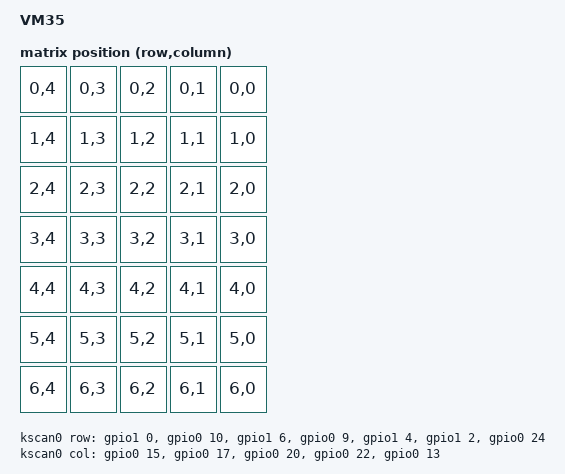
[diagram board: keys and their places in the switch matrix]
/*
 * VM35 — custom macropad (standalone) built on an nRF52840
 * (EByte E73-2G4M08S1C module).
 */

/dts-v1/;
#include <nordic/nrf52840_qiaa.dtsi>
#include <dt-bindings/zmk/matrix_transform.h>
#include <physical_layouts.dtsi>

/ {
	model = "VM35";
	compatible = "vm,vm35";

	chosen {
		zephyr,code-partition = &code_partition;
		zephyr,sram = &sram0;
		zephyr,flash = &flash0;
		zmk,kscan = &kscan0;
		zmk,matrix-transform = &default_transform;
		zmk,battery = &vbatt;
	};

	/* Li-ion voltage divider on P0.04/AIN2: VBAT -[820k]- ADC -[2M]- GND. */
	vbatt: vbatt {
		compatible = "zmk,battery-voltage-divider";
		io-channels = <&adc 2>;
		output-ohms = <2000000>;
		full-ohms = <2820000>;
	};

	/*
	 * External-power gate: P-FET (AO3407) gate on P1.09, held off by a 2M
	 * pull-up, so driving the pin low enables EXT_VCC -> ACTIVE_LOW.
	 * Polarity is inferred from the schematic; verify on hardware.
	 */
	extpower {
		compatible = "zmk,ext-power-generic";
		control-gpios = <&gpio1 9 GPIO_ACTIVE_LOW>;
		label = "EXT_POWER";
	};

	/*
	 * 7x5 matrix. Pin map from the authoritative E73 daughterboard
	 * schematic (net names align DB<->MB despite the reversed FPC order):
	 *
	 *   net    nRF pin      port/pin
	 *   row0   P1.00        gpio1 0
	 *   row1   P0.10/NFC2   gpio0 10   <- needs NFCT_PINS_AS_GPIOS
	 *   row2   P1.06        gpio1 6
	 *   row3   P0.09/NFC1   gpio0 9    <- needs NFCT_PINS_AS_GPIOS
	 *   row4   P1.04        gpio1 4
	 *   row5   P1.02        gpio1 2
	 *   row6   P0.24        gpio0 24
	 *   col0   P0.15        gpio0 15
	 *   col1   P0.17        gpio0 17
	 *   col2   P0.20        gpio0 20
	 *   col3   P0.22        gpio0 22
	 *   col4   P0.13        gpio0 13
	 */
	kscan0: kscan {
		compatible = "zmk,kscan-gpio-matrix";
		wakeup-source;
		diode-direction = "col2row";

		/* col2row: columns driven (outputs), rows read (inputs with
		 * pull-down). Matches the original working firmware. */
		row-gpios
			= <&gpio1  0 (GPIO_ACTIVE_HIGH | GPIO_PULL_DOWN)>	/* row0 P1.00 */
			, <&gpio0 10 (GPIO_ACTIVE_HIGH | GPIO_PULL_DOWN)>	/* row1 P0.10/NFC2 */
			, <&gpio1  6 (GPIO_ACTIVE_HIGH | GPIO_PULL_DOWN)>	/* row2 P1.06 */
			, <&gpio0  9 (GPIO_ACTIVE_HIGH | GPIO_PULL_DOWN)>	/* row3 P0.09/NFC1 */
			, <&gpio1  4 (GPIO_ACTIVE_HIGH | GPIO_PULL_DOWN)>	/* row4 P1.04 */
			, <&gpio1  2 (GPIO_ACTIVE_HIGH | GPIO_PULL_DOWN)>	/* row5 P1.02 */
			, <&gpio0 24 (GPIO_ACTIVE_HIGH | GPIO_PULL_DOWN)>	/* row6 P0.24 */
			;

		col-gpios
			= <&gpio0 15 GPIO_ACTIVE_HIGH>	/* col0 P0.15 */
			, <&gpio0 17 GPIO_ACTIVE_HIGH>	/* col1 P0.17 */
			, <&gpio0 20 GPIO_ACTIVE_HIGH>	/* col2 P0.20 */
			, <&gpio0 22 GPIO_ACTIVE_HIGH>	/* col3 P0.22 */
			, <&gpio0 13 GPIO_ACTIVE_HIGH>	/* col4 P0.13 */
			;
	};

	/*
	 * Standalone macropad, 35 keys. Columns are mirrored on the PCB
	 * (physical left = col4), so the transform reverses columns to make
	 * keymap position 0 the physical top-left key and author left->right.
	 */
	default_transform: keymap_transform_0 {
		compatible = "zmk,matrix-transform";
		columns = <5>;
		rows = <7>;
		map = <
			RC(0,4) RC(0,3) RC(0,2) RC(0,1) RC(0,0)
			RC(1,4) RC(1,3) RC(1,2) RC(1,1) RC(1,0)
			RC(2,4) RC(2,3) RC(2,2) RC(2,1) RC(2,0)
			RC(3,4) RC(3,3) RC(3,2) RC(3,1) RC(3,0)
			RC(4,4) RC(4,3) RC(4,2) RC(4,1) RC(4,0)
			RC(5,4) RC(5,3) RC(5,2) RC(5,1) RC(5,0)
			RC(6,4) RC(6,3) RC(6,2) RC(6,1) RC(6,0)
		>;
	};

	/*
	 * Physical layout for ZMK Studio (live remapping). Plain 5-wide x
	 * 7-tall 1u grid, keys listed in keymap-position order (top-left
	 * first, left->right) so they line up with default_transform.
	 * Units are 1/100 of a key; 100 = 1u.
	 */
	vm35_layout: vm35_layout {
		compatible = "zmk,physical-layout";
		display-name = "Numpad";
		transform = <&default_transform>;
		keys
			= <&key_physical_attrs 100 100    0    0 0 0 0>
			, <&key_physical_attrs 100 100  100    0 0 0 0>
			, <&key_physical_attrs 100 100  200    0 0 0 0>
			, <&key_physical_attrs 100 100  300    0 0 0 0>
			, <&key_physical_attrs 100 100  400    0 0 0 0>
			, <&key_physical_attrs 100 100    0  100 0 0 0>
			, <&key_physical_attrs 100 100  100  100 0 0 0>
			, <&key_physical_attrs 100 100  200  100 0 0 0>
			, <&key_physical_attrs 100 100  300  100 0 0 0>
			, <&key_physical_attrs 100 100  400  100 0 0 0>
			, <&key_physical_attrs 100 100    0  200 0 0 0>
			, <&key_physical_attrs 100 100  100  200 0 0 0>
			, <&key_physical_attrs 100 100  200  200 0 0 0>
			, <&key_physical_attrs 100 100  300  200 0 0 0>
			, <&key_physical_attrs 100 100  400  200 0 0 0>
			, <&key_physical_attrs 100 100    0  300 0 0 0>
			, <&key_physical_attrs 100 100  100  300 0 0 0>
			, <&key_physical_attrs 100 100  200  300 0 0 0>
			, <&key_physical_attrs 100 100  300  300 0 0 0>
			, <&key_physical_attrs 100 100  400  300 0 0 0>
			, <&key_physical_attrs 100 100    0  400 0 0 0>
			, <&key_physical_attrs 100 100  100  400 0 0 0>
			, <&key_physical_attrs 100 100  200  400 0 0 0>
			, <&key_physical_attrs 100 100  300  400 0 0 0>
			, <&key_physical_attrs 100 100  400  400 0 0 0>
			, <&key_physical_attrs 100 100    0  500 0 0 0>
			, <&key_physical_attrs 100 100  100  500 0 0 0>
			, <&key_physical_attrs 100 100  200  500 0 0 0>
			, <&key_physical_attrs 100 100  300  500 0 0 0>
			, <&key_physical_attrs 100 100  400  500 0 0 0>
			, <&key_physical_attrs 100 100    0  600 0 0 0>
			, <&key_physical_attrs 100 100  100  600 0 0 0>
			, <&key_physical_attrs 100 100  200  600 0 0 0>
			, <&key_physical_attrs 100 100  300  600 0 0 0>
			, <&key_physical_attrs 100 100  400  600 0 0 0>
			;
	};
};

&adc {
	status = "okay";
};

&gpiote {
	status = "okay";
};

&gpio0 {
	status = "okay";
};

&gpio1 {
	status = "okay";
};

/* Label the USB device controller zephyr_udc0 so the ZMK Studio
 * (studio-rpc-usb-uart) snippet can attach its CDC-ACM RPC endpoint. */
zephyr_udc0: &usbd {
	status = "okay";
};

&flash0 {
	/*
	 * Partition layout for the Adafruit nRF52 (UF2) bootloader,
	 * same as nice!nano. Application starts at 0x26000.
	 */
	partitions {
		compatible = "fixed-partitions";
		#address-cells = <1>;
		#size-cells = <1>;

		sd_partition: partition@0 {
			reg = <0x00000000 0x00026000>;
		};
		code_partition: partition@26000 {
			reg = <0x00026000 0x000c6000>;
		};
		storage_partition: partition@ec000 {
			label = "storage";
			reg = <0x000ec000 0x00008000>;
		};
		boot_partition: partition@f4000 {
			reg = <0x000f4000 0x0000c000>;
		};
	};
};
